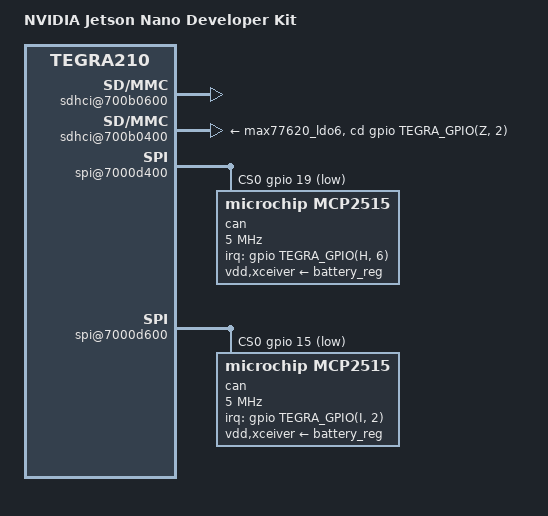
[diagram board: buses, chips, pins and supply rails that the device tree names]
/*
 * arch/arm64/boot/dts/tegra210-p3448-0002-p3449-0000-b00.dts
 *
 * Copyright (c) 2018-2019, NVIDIA CORPORATION.  All rights reserved.
 *
 * This program is free software; you can redistribute it and/or modify
 * it under the terms of the GNU General Public License as published by
 * the Free Software Foundation; version 2 of the License.
 *
 * This program is distributed in the hope that it will be useful, but WITHOUT
 * ANY WARRANTY; without even the implied warranty of MERCHANTABILITY or
 * FITNESS FOR A PARTICULAR PURPOSE.  See the GNU General Public License for
 * more details.
 *
 * You should have received a copy of the GNU General Public License along
 * with this program; if not, write to the Free Software Foundation, Inc.,
 * 51 Franklin Street, Fifth Floor, Boston, MA  02110-1301, USA.
 *
 */

#include "tegra210-nano-cti-base.dtsi"
#include "porg-platforms/tegra210-porg-pinmux-p3448-0000-a02-cti.dtsi"
#include "porg-platforms/tegra210-porg-gpio-p3448-0000-a02-cti.dtsi"

/ {
	model = "NVIDIA Jetson Nano Developer Kit";
	compatible = "nvidia,jetson-nano", "nvidia,tegra210";
	nvidia,dtsfilename = __FILE__;

	sdhci@700b0600 { /* SDMMC4 for EMMC */
		status = "okay";
	};

	sdhci@700b0000 { 
		status = "disabled";
	};
	
	host1x {
		sor1 {
				hdmi-display {
				status = "disabled";
			};
		};
	};
	
	sdhci@700b0400 {
		status = "okay";
		cd-gpios = <&gpio TEGRA_GPIO(Z, 2) 0>;
		/delete-property/ keep-power-in-suspend;
		/delete-property/ non-removable;
		mmc-ddr-1_8v;
		mmc-ocr-mask = <3>;
		uhs-mask = <0x0>;
		max-clk-limit = <400000>;
		tap-delay = <3>;			
		vmmc-supply = <&max77620_ldo6>;
		no-vdd-regulator;		
	};

	spi@70410000 { /* QSPI */
		status = "disabled";
	};
	
	can_clock: can_clock{
        compatible = "fixed-clock";
        #clock-cells = <0>;
        clock-frequency = <20000000>;
        clock-accuracy = <100>;
    };

	spi@7000d400 { /* SPI 1 to 40 pin header */
		status = "okay";
		num-cs = <1>;
		cs-gpios = <&gpio 19 GPIO_ACTIVE_LOW>;
		can@0 {
            status = "okay";
            compatible = "microchip,mcp2515";
            reg = <0>;	/* spi chip select 0 */
            clocks = <&can_clock>;
            interrupt-parent = <&gpio>;
                /* the first cell defines the
                    index of the interrupt within the controller, while the second cell is used
                    to specify any of the following flags:
                    - bits[3:0] trigger type and level flags
                    1 = low-to-high edge triggered
                    2 = high-to-low edge triggered
                    4 = active high level-sensitive
                    8 = active low level-sensitive
                */
			interrupts = <TEGRA_GPIO(H, 6) 0x01>; 
			vdd-supply = <&battery_reg>;
			xceiver-supply = <&battery_reg>;
			spi-max-frequency=<5000000>;
			controller-data {		                
				nvidia,cs-setup-clk-count = <0x1e>;
				nvidia,cs-hold-clk-count = <0x1e>;
				nvidia,rx-clk-tap-delay = <0x1f>;
				nvidia,tx-clk-tap-delay = <0x0>;
			};
		};
	};

	spi@7000d600 { /* SPI 2 to 40 pin header */
		status = "okay";
		num-cs = <1>;
		cs-gpios = <&gpio 15 GPIO_ACTIVE_LOW>;
		can@0 {
            status = "okay";
            compatible = "microchip,mcp2515";
            reg = <0>;	/* spi chip select 0 */
            clocks = <&can_clock>;
            interrupt-parent = <&gpio>;
                /* the first cell defines the
                    index of the interrupt within the controller, while the second cell is used
                    to specify any of the following flags:
                    - bits[3:0] trigger type and level flags
                    1 = low-to-high edge triggered
                    2 = high-to-low edge triggered
                    4 = active high level-sensitive
                    8 = active low level-sensitive
                */
			interrupts = <TEGRA_GPIO(I, 2) 0x01>; 
			vdd-supply = <&battery_reg>;
			xceiver-supply = <&battery_reg>;
			spi-max-frequency=<5000000>;
			controller-data {			               	
				nvidia,cs-setup-clk-count = <0x1e>;
				nvidia,cs-hold-clk-count = <0x1e>;
				nvidia,rx-clk-tap-delay = <0x1f>;
				nvidia,tx-clk-tap-delay = <0x0>;
			};
		};
	};

	gpio@6000d000 {
			/* gpio-name for 40-pin header, gpio-name given as COL(10) x ROW(20) */
			gpio-line-names = "",   "",     "",     "",     "",     "",     "",     "",     "",     "",
			"",     "",     "SPI1_MOSI",    "SPI1_MISO",    "SPI1_SCK",     "SPI1_CS0",     "SPI0_MOSI",    "SPI0_MISO",    "SPI0_SCK",     "SPI0_CS0",
			"SPI0_CS1",     "",     "",     "",     "",     "",     "",     "",     "",     "",
			"",     "",     "",     "",     "",     "",     "",     "",     "GPIO13",      "",
			"",     "",     "",     "",     "",     "",     "",     "",     "",     "",
			"UART1_RTS",    "UART1_CTS",    "",     "",     "",     "",     "",     "",     "",     "",
			"",     "",     "",     "",     "",     "",     "",     "",     "",     "",
			"",     "",     "",     "",     "",     "",     "I2S0_FS",    "I2S0_DIN",    "I2S0_DOUT",   "I2S0_SCLK",
			"",     "",     "",     "",     "",     "",     "",     "",     "",     "",
			"",     "",     "",     "",     "",     "",     "",     "",     "",     "",
			"",     "",     "",     "",     "",     "",     "",     "",     "",     "",
			"",     "",     "",     "",     "",     "",     "",     "",     "",     "",
			"",     "",     "",     "",     "",     "",     "",     "",     "",     "",
			"",     "",     "",     "",     "",     "",     "",     "",     "",     "",
			"",     "",     "",     "",     "",     "",     "",     "",     "",     "GPIO01",
			"",     "",     "",     "",     "",     "",     "",     "",     "",     "",
			"",     "",     "",     "",     "",     "",     "",     "",     "GPIO07",   "",
			"",     "",     "",     "",     "",     "",     "",     "",     "",     "",
			"",     "",     "",     "",     "",     "",     "",     "",     "",     "",
			"",     "",     "",     "",     "GPIO12",       "",     "",     "",     "",     "",
			"GPIO11",      "",     "",     "",     "",     "",     "",     "",     "",     "",
			"",     "",     "",     "",     "",     "",     "GPIO09",     "",     "",     "",
			"",     "",     "",     "",     "",     "",     "",     "",     "",     "",
			"",     "",     "SPI1_CS1",     "",     "",     "",     "",     "",     "",     "";
	};
};
